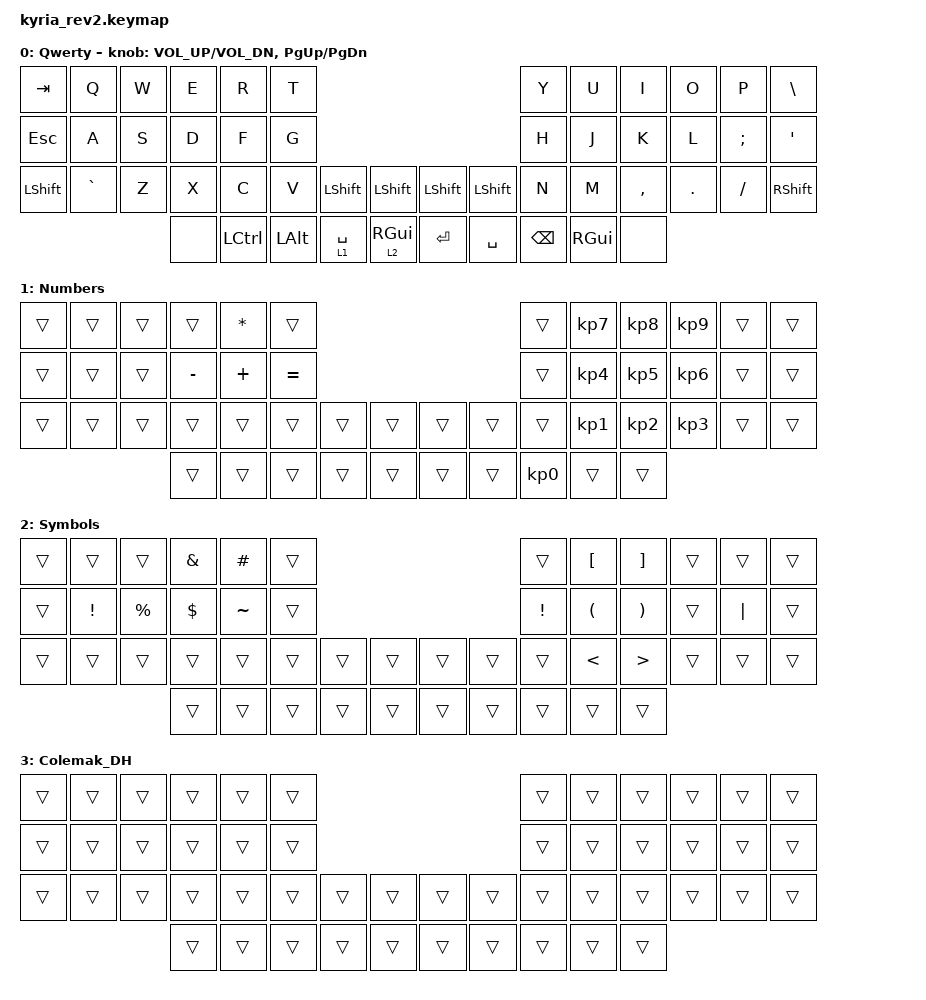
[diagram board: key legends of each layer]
/*
 * Copyright (c) 2020 The ZMK Contributors
 *
 * SPDX-License-Identifier: MIT
 */

#include <behaviors.dtsi>
#include <dt-bindings/zmk/keys.h>
#define DEFAULT 0
#define NUM   1
#define SYM   2

/ {
    keymap {
        compatible = "zmk,keymap";

        Qwerty {
            // ---------------------------------------------------------------------------------------------------------------------------------
            // |  TAB  |  Q  |  W  |  F   |  P     |  B   |                                            |  J   |  L    |  U    |  Y   |   :   |   [  |
            // |  ESC  |  A  |  R  |  S   |  T     |  G   |                                            |  M   |  N    |  E    |  I   |   O   |   '  |
            // | SHIFT |  Z  |  X  |  C   |  D     |  V   | L SHIFT | L SHIFT |    | L SHIFT | L SHIFT |  K   |  H    |  ,    |  .   |   /   | R SHIFT |
            //                     | GUI  | LCTRL  | GUI  |  SPACE  |   ESC   |    |   RET   |  SPACE  | BSPC | TAB   | R-ALT |

            bindings = <
  &kp TAB      &kp Q  &kp W  &kp E        &kp R     &kp T                                                       &kp Y      &kp U      &kp I    &kp O     &kp P   &kp BSLH
  &kp ESC      &kp A  &kp S  &kp D        &kp F     &kp G                                                       &kp H      &kp J      &kp K    &kp L  &kp SEMI    &kp SQT
&kp LSHFT  &kp GRAVE  &kp Z  &kp X        &kp C     &kp V    &kp LSHFT      &kp LSHFT  &kp LSHFT  &kp LSHFT     &kp N      &kp M  &kp COMMA  &kp DOT  &kp FSLH  &kp RSHFT
                             &none  &kp LCTRL &kp LALT &lt 1 SPACE   &lt 2 RIGHT_GUI    &kp RET  &kp SPACE  &kp BSPC  &kp RIGHT_GUI   &none
            >;

           sensor-bindings = <&inc_dec_kp C_VOL_UP C_VOL_DN &inc_dec_kp PG_UP PG_DN>;
        };

        Numbers {
            bindings = <
&trans  &trans  &trans     &trans  &kp ASTERISK     &trans                                           &trans  &kp KP_NUMBER_7  &kp KP_NUMBER_8  &kp KP_NUMBER_9  &trans  &trans
&trans  &trans  &trans  &kp MINUS      &kp PLUS  &kp EQUAL                                           &trans  &kp KP_NUMBER_4  &kp KP_NUMBER_5  &kp KP_NUMBER_6  &trans  &trans
&trans  &trans  &trans     &trans        &trans     &trans  &trans  &trans  &trans  &trans           &trans  &kp KP_NUMBER_1  &kp KP_NUMBER_2  &kp KP_NUMBER_3  &trans  &trans
                           &trans        &trans     &trans  &trans  &trans  &trans  &trans  &kp KP_NUMBER_0           &trans           &trans
            >;
        };

        Symbols {
            bindings = <
&trans  &trans       &trans  &kp AMPERSAND   &kp HASH  &trans                                    &trans      &kp LEFT_BRACKET      &kp RIGHT_BRACKET  &trans    &trans  &trans
&trans  &kp EXCL     &kp PERCENT     &kp DOLLAR  &kp TILDE  &trans                                  &kp EXCL  &kp LEFT_PARENTHESIS  &kp RIGHT_PARENTHESIS  &trans  &kp PIPE  &trans
&trans  &trans       &trans         &trans     &trans  &trans  &trans  &trans  &trans  &trans    &trans         &kp LESS_THAN       &kp GREATER_THAN  &trans    &trans  &trans
                                    &trans     &trans  &trans  &trans  &trans  &trans  &trans    &trans                &trans                 &trans
            >;
        };

        Colemak_DH {
            bindings = <
&trans  &trans  &trans  &trans  &trans  &trans                                  &trans  &trans  &trans  &trans  &trans  &trans
&trans  &trans  &trans  &trans  &trans  &trans                                  &trans  &trans  &trans  &trans  &trans  &trans
&trans  &trans  &trans  &trans  &trans  &trans  &trans  &trans  &trans  &trans  &trans  &trans  &trans  &trans  &trans  &trans
                        &trans  &trans  &trans  &trans  &trans  &trans  &trans  &trans  &trans  &trans
            >;
        };
    };
};
